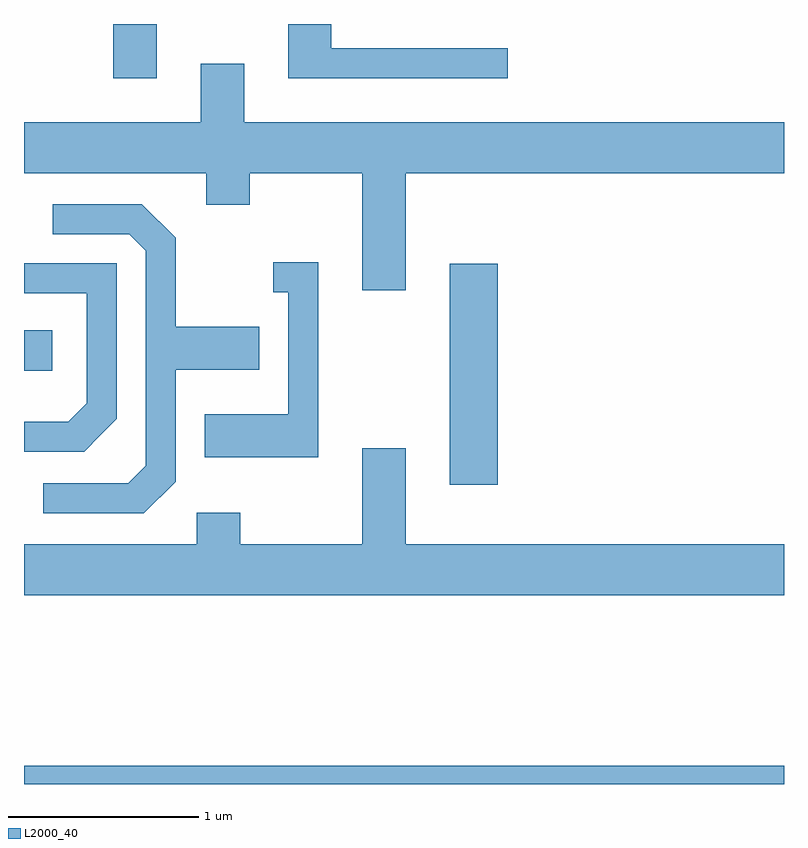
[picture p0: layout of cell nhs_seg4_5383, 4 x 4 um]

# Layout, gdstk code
import gdstk
lib = gdstk.Library(unit=1e-6, precision=1e-09)
def R(c, l, rs):  # rectangles x0, y0, x1, y1
    for r in rs: c.add(gdstk.rectangle(r[:2], r[2:], *l))
def P(c, l, *ps):  # polygons
    for p in ps: c.add(gdstk.Polygon(p, *l))
L2000_40 = (2000, 40)

nhs_seg4_5383 = lib.new_cell('nhs_seg4_5383')
R(nhs_seg4_5383, L2000_40, [(343.611,1275.982,347.611,1276.079), (345.851,1277.556,346.104,1278.719), (343.611,1278.156,343.759,1278.369), (344.081,1279.696,344.309,1279.982)])
P(nhs_seg4_5383, L2000_40, [(346.158,1279.854),(345.229,1279.854),(345.229,1279.982),(345.001,1279.982),(345.001,1279.696),(346.158,1279.696)],
  [(345.619,1279.196),(347.611,1279.196),(347.611,1279.464),(344.769,1279.464),(344.769,1279.774),(344.541,1279.774),(344.541,1279.464),(343.611,1279.464),(343.611,1279.196),(344.571,1279.196),(344.571,1279.031),(344.799,1279.031),(344.799,1279.196),(345.391,1279.196),(345.391,1278.581),(345.619,1278.581)],
  [(344.409,1277.574),(344.409,1278.161),(344.849,1278.161),(344.849,1278.389),(344.409,1278.389),(344.409,1278.857),(344.232,1279.034),(343.763,1279.034),(343.763,1278.876),(344.164,1278.876),(344.251,1278.789),(344.251,1277.657),(344.159,1277.564),(343.713,1277.564),(343.713,1277.406),(344.242,1277.406)],
  [(345.159,1278.729),(344.923,1278.729),(344.923,1278.571),(345.001,1278.571),(345.001,1277.929),(344.561,1277.929),(344.561,1277.701),(345.159,1277.701)],
  [(344.013,1277.817),(344.099,1277.904),(344.099,1278.724),(343.611,1278.724),(343.611,1278.566),(343.941,1278.566),(343.941,1277.987),(343.844,1277.889),(343.611,1277.889),(343.611,1277.731),(343.927,1277.731)],
  [(347.611,1277.244),(345.619,1277.244),(345.619,1277.749),(345.391,1277.749),(345.391,1277.244),(344.749,1277.244),(344.749,1277.409),(344.521,1277.409),(344.521,1277.244),(343.611,1277.244),(343.611,1276.976),(347.611,1276.976)])

lib.write_gds('nhs_seg4_5383.gds')
